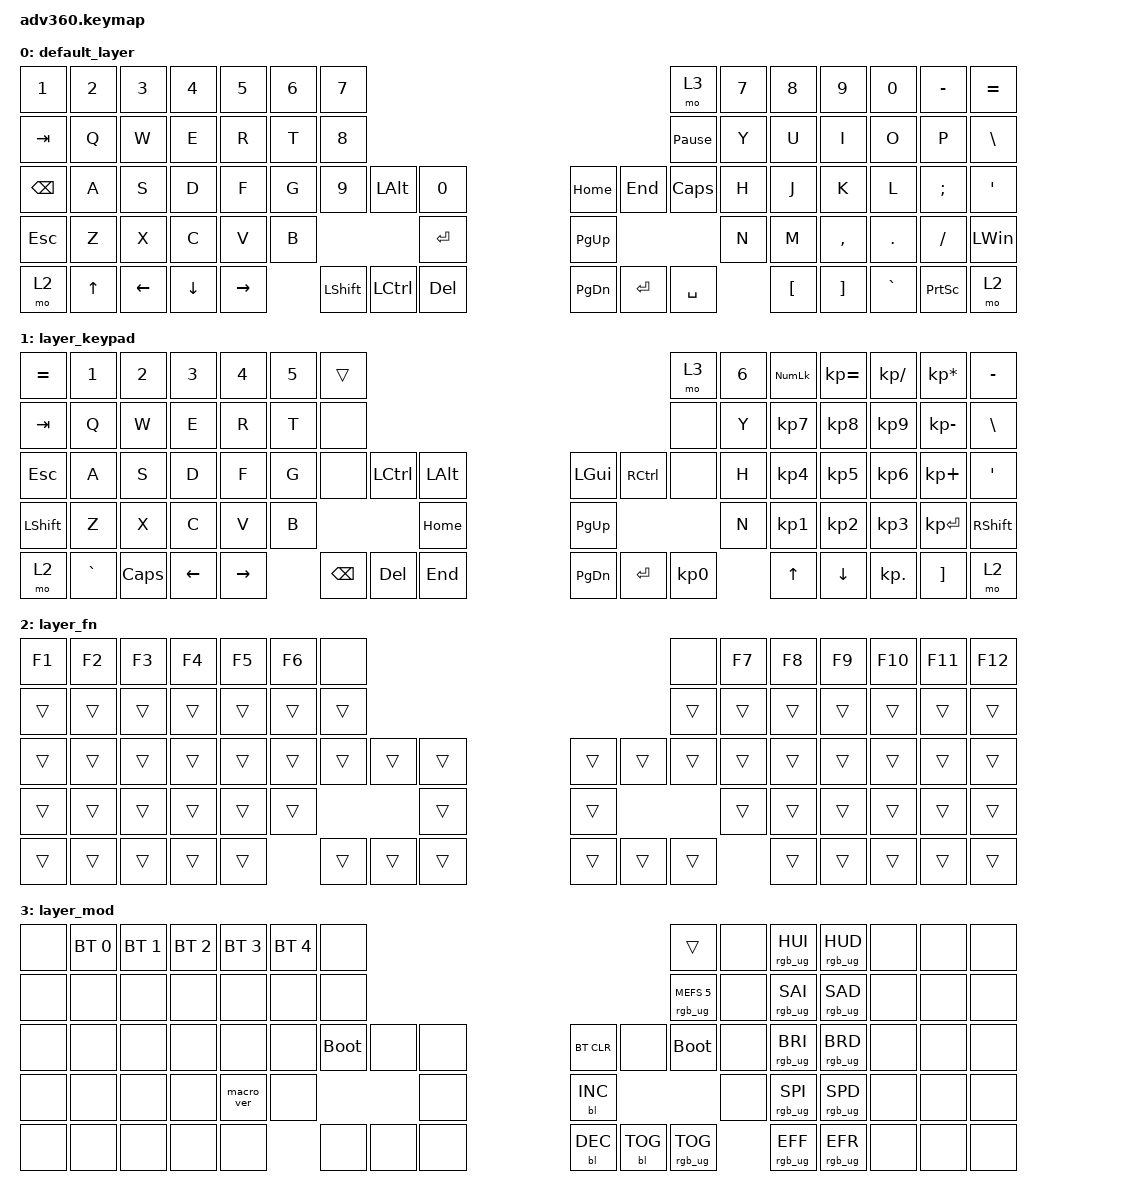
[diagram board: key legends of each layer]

/*
 * Copyright (c) 2020 The ZMK Contributors
 *
 * SPDX-License-Identifier: MIT
 */


/* THIS FILE WAS GENERATED!
 *
 * This file was generated automatically. You may or may not want to
 * edit it directly.
 */

#include <behaviors.dtsi>
#include <dt-bindings/zmk/keys.h>
#include <dt-bindings/zmk/bt.h>
#include <dt-bindings/zmk/rgb.h>
#include <dt-bindings/zmk/backlight.h>

/ {
  behaviors {
    #include "macros.dtsi"
    #include "version.dtsi"

    hm: homerow_mods {
        compatible = "zmk,behavior-hold-tap";
        label = "HOMEROW_MODS";
        #binding-cells = <2>;
        tapping-term-ms = <200>;
        quick_tap_ms = <175>;
        flavor = "tap-preferred";
        bindings = <&kp>, <&kp>;
    };
  };

    keymap {
        compatible = "zmk,keymap";


        default_layer {
            bindings = <
   &kp N1  &kp N2    &kp N3    &kp N4     &kp N5  &kp N6                &kp N7                                                                        &mo 3  &kp N7    &kp N8     &kp N9     &kp N0        &kp MINUS  &kp EQUAL
  &kp TAB   &kp Q     &kp W     &kp E      &kp R   &kp T                &kp N8                                                              &kp PAUSE_BREAK   &kp Y     &kp U      &kp I      &kp O            &kp P   &kp BSLH
 &kp BSPC   &kp A     &kp S     &kp D      &kp F   &kp G                &kp N9   &kp LALT     &kp N0                   &kp HOME    &kp END         &kp CAPS   &kp H     &kp J      &kp K      &kp L         &kp SEMI    &kp SQT
  &kp ESC   &kp Z     &kp X     &kp C      &kp V   &kp B                                   &kp ENTER                  &kp PG_UP                               &kp N     &kp M  &kp COMMA    &kp DOT         &kp FSLH   &kp LWIN
    &mo 2  &kp UP  &kp LEFT  &kp DOWN  &kp RIGHT                    &kp LSHIFT  &kp LCTRL    &kp DEL                  &kp PG_DN  &kp ENTER        &kp SPACE          &kp LBKT   &kp RBKT  &kp GRAVE  &kp PRINTSCREEN      &mo 2
            >;
        };

        layer_keypad {
            bindings = <
 &kp EQUAL     &kp N1    &kp N2    &kp N3     &kp N4  &kp N5              &trans                                                                 &mo 3  &kp N6  &kp KP_NUM  &kp KP_EQUAL  &kp KP_DIVIDE  &kp KP_MULTIPLY  &kp MINUS
   &kp TAB      &kp Q     &kp W     &kp E      &kp R   &kp T               &none                                                                 &none   &kp Y   &kp KP_N7     &kp KP_N8      &kp KP_N9     &kp KP_MINUS   &kp BSLH
   &kp ESC      &kp A     &kp S     &kp D      &kp F   &kp G               &none  &kp LCTRL  &kp LALT                   &kp LGUI  &kp RCTRL      &none   &kp H   &kp KP_N4     &kp KP_N5      &kp KP_N6      &kp KP_PLUS    &kp SQT
 &kp LSHFT      &kp Z     &kp X     &kp C      &kp V   &kp B                                 &kp HOME                  &kp PG_UP                         &kp N   &kp KP_N1     &kp KP_N2      &kp KP_N3     &kp KP_ENTER  &kp RSHFT
     &mo 2  &kp GRAVE  &kp CAPS  &kp LEFT  &kp RIGHT                    &kp BSPC    &kp DEL   &kp END                  &kp PG_DN  &kp ENTER  &kp KP_N0              &kp UP      &kp DOWN     &kp KP_DOT         &kp RBKT      &mo 2
            >;
        };

        layer_fn {
            bindings = <
 &kp F1  &kp F2  &kp F3  &kp F4  &kp F5  &kp F6             &none                                                   &none  &kp F7  &kp F8  &kp F9  &kp F10  &kp F11  &kp F12
 &trans  &trans  &trans  &trans  &trans  &trans            &trans                                                  &trans  &trans  &trans  &trans   &trans   &trans   &trans
 &trans  &trans  &trans  &trans  &trans  &trans            &trans  &trans  &trans                  &trans  &trans  &trans  &trans  &trans  &trans   &trans   &trans   &trans
 &trans  &trans  &trans  &trans  &trans  &trans                            &trans                  &trans                  &trans  &trans  &trans   &trans   &trans   &trans
 &trans  &trans  &trans  &trans  &trans                    &trans  &trans  &trans                  &trans  &trans  &trans          &trans  &trans   &trans   &trans   &trans
            >;
        };

        layer_mod {
            bindings = <
  &none  &bt BT_SEL 0  &bt BT_SEL 1  &bt BT_SEL 2  &bt BT_SEL 3  &bt BT_SEL 4                  &none                                                                          &trans   &none  &rgb_ug RGB_HUI  &rgb_ug RGB_HUD   &none   &none   &none
  &none         &none         &none         &none         &none         &none                  &none                                                          &rgb_ug RGB_MEFS_CMD 5   &none  &rgb_ug RGB_SAI  &rgb_ug RGB_SAD   &none   &none   &none
  &none         &none         &none         &none         &none         &none            &bootloader   &none   &none                  &bt BT_CLR       &none             &bootloader   &none  &rgb_ug RGB_BRI  &rgb_ug RGB_BRD   &none   &none   &none
  &none         &none         &none         &none    &macro_ver         &none                                  &none                  &bl BL_INC                                       &none  &rgb_ug RGB_SPI  &rgb_ug RGB_SPD   &none   &none   &none
  &none         &none         &none         &none         &none                                &none   &none   &none                  &bl BL_DEC  &bl BL_TOG         &rgb_ug RGB_TOG          &rgb_ug RGB_EFF  &rgb_ug RGB_EFR   &none   &none   &none
            >;
        };

    };
};
